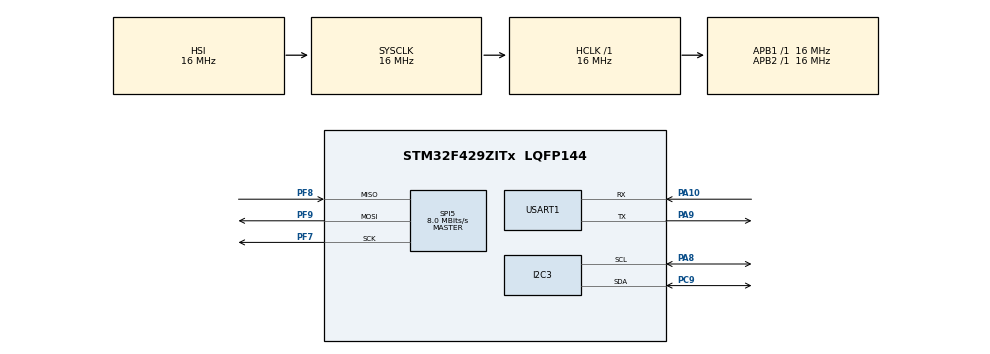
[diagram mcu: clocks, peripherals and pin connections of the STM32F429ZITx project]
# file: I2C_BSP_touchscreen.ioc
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Mcu.Family=STM32F4
Mcu.Name=STM32F429ZITx
Mcu.Package=LQFP144
NVIC.PriorityGroup=NVIC_PRIORITYGROUP_4
PA10.Mode=Asynchronous
PA10.Signal=USART1_RX
PA8.Mode=I2C
PA8.Signal=I2C3_SCL
PA9.Mode=Asynchronous
PA9.Signal=USART1_TX
PC9.Mode=I2C
PC9.Signal=I2C3_SDA
PF7.Mode=Full_Duplex_Master
PF7.Signal=SPI5_SCK
PF8.Mode=Full_Duplex_Master
PF8.Signal=SPI5_MISO
PF9.Mode=Full_Duplex_Master
PF9.Signal=SPI5_MOSI
ProjectManager.HeapSize=0x200
ProjectManager.StackSize=0x400
ProjectManager.TargetToolchain=TrueSTUDIO
RCC.AHBFreq_Value=16000000
RCC.APB1Freq_Value=16000000
RCC.APB2Freq_Value=16000000
RCC.CortexFreq_Value=16000000
RCC.HSE_VALUE=25000000
RCC.HSI_VALUE=16000000
RCC.LSE_VALUE=32768
RCC.SYSCLKFreq_VALUE=16000000
RCC.VCOOutputFreq_Value=192000000
SPI5.CalculateBaudRate=8.0 MBits/s
SPI5.Direction=SPI_DIRECTION_2LINES
SPI5.Mode=SPI_MODE_MASTER
SPI5.VirtualType=VM_MASTER
USART1.VirtualMode=VM_ASYNC
board=custom

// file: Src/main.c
/* USER CODE BEGIN Header */
/**
  ******************************************************************************
  * @file           : main.c
  * @brief          : Main program body
  ******************************************************************************
  * @attention
  *
  * <h2><center>&copy; Copyright (c) 2019 STMicroelectronics.
  * All rights reserved.</center></h2>
  *
  * This software component is licensed by ST under BSD 3-Clause license,
  * the "License"; You may not use this file except in compliance with the
  * License. You may obtain a copy of the License at:
  *                        opensource.org/licenses/BSD-3-Clause
  *
  ******************************************************************************
  */
/* USER CODE END Header */

#include "main.h"

/* USER CODE BEGIN Includes */
#include "stm32f429i_discovery_ts.h"
#include <stdio.h>
/* USER CODE END Includes */

I2C_HandleTypeDef hi2c3;

SPI_HandleTypeDef hspi5;

UART_HandleTypeDef huart1;

/* USER CODE BEGIN PV */
int _write(int file, char *ptr, int len)
{
	HAL_UART_Transmit(&huart1, (uint8_t *)ptr, len, 0xFFFFFFFF);
	return len;
}
/* USER CODE END PV */

void SystemClock_Config(void);
static void MX_GPIO_Init(void);
static void MX_I2C3_Init(void);
static void MX_SPI5_Init(void);
static void MX_USART1_UART_Init(void);

int main(void)
{

  /* MCU Configuration--------------------------------------------------------*/

  /* Reset of all peripherals, Initializes the Flash interface and the Systick. */
  HAL_Init();

  /* Configure the system clock */
  SystemClock_Config();

  /* Initialize all configured peripherals */
  MX_GPIO_Init();
  MX_I2C3_Init();
  MX_SPI5_Init();
  MX_USART1_UART_Init();
  /* USER CODE BEGIN 2 */

  TS_StateTypeDef stTouch;
  BSP_TS_Init(240, 320);
  /* USER CODE END 2 */

  /* Infinite loop */
  /* USER CODE BEGIN WHILE */
  int flag = 0;
  while (1)
  {
    /* USER CODE END WHILE */

    /* USER CODE BEGIN 3 */
	  BSP_TS_GetState(&stTouch);
	  if(stTouch.TouchDetected) {
		if(!flag) {
			flag = 1;
			printf("X : %d\r\n", stTouch.X);
			printf("Y : %d\r\n", stTouch.Y);
		}
	  }
	  else {
		flag = 0;
	  }

  }
  /* USER CODE END 3 */
}

void SystemClock_Config(void)
{
  RCC_OscInitTypeDef RCC_OscInitStruct = {0};
  RCC_ClkInitTypeDef RCC_ClkInitStruct = {0};

  /** Configure the main internal regulator output voltage
  */
  __HAL_RCC_PWR_CLK_ENABLE();
  __HAL_PWR_VOLTAGESCALING_CONFIG(PWR_REGULATOR_VOLTAGE_SCALE3);
  /** Initializes the CPU, AHB and APB busses clocks
  */
  RCC_OscInitStruct.OscillatorType = RCC_OSCILLATORTYPE_HSI;
  RCC_OscInitStruct.HSIState = RCC_HSI_ON;
  RCC_OscInitStruct.HSICalibrationValue = RCC_HSICALIBRATION_DEFAULT;
  RCC_OscInitStruct.PLL.PLLState = RCC_PLL_NONE;
  if (HAL_RCC_OscConfig(&RCC_OscInitStruct) != HAL_OK)
  {
    Error_Handler();
  }
  /** Initializes the CPU, AHB and APB busses clocks
  */
  RCC_ClkInitStruct.ClockType = RCC_CLOCKTYPE_HCLK|RCC_CLOCKTYPE_SYSCLK
                              |RCC_CLOCKTYPE_PCLK1|RCC_CLOCKTYPE_PCLK2;
  RCC_ClkInitStruct.SYSCLKSource = RCC_SYSCLKSOURCE_HSI;
  RCC_ClkInitStruct.AHBCLKDivider = RCC_SYSCLK_DIV1;
  RCC_ClkInitStruct.APB1CLKDivider = RCC_HCLK_DIV1;
  RCC_ClkInitStruct.APB2CLKDivider = RCC_HCLK_DIV1;

  if (HAL_RCC_ClockConfig(&RCC_ClkInitStruct, FLASH_LATENCY_0) != HAL_OK)
  {
    Error_Handler();
  }
}

static void MX_I2C3_Init(void)
{

  hi2c3.Instance = I2C3;
  hi2c3.Init.ClockSpeed = 100000;
  hi2c3.Init.DutyCycle = I2C_DUTYCYCLE_2;
  hi2c3.Init.OwnAddress1 = 0;
  hi2c3.Init.AddressingMode = I2C_ADDRESSINGMODE_7BIT;
  hi2c3.Init.DualAddressMode = I2C_DUALADDRESS_DISABLE;
  hi2c3.Init.OwnAddress2 = 0;
  hi2c3.Init.GeneralCallMode = I2C_GENERALCALL_DISABLE;
  hi2c3.Init.NoStretchMode = I2C_NOSTRETCH_DISABLE;
  if (HAL_I2C_Init(&hi2c3) != HAL_OK)
  {
    Error_Handler();
  }
  /** Configure Analogue filter
  */
  if (HAL_I2CEx_ConfigAnalogFilter(&hi2c3, I2C_ANALOGFILTER_ENABLE) != HAL_OK)
  {
    Error_Handler();
  }
  /** Configure Digital filter
  */
  if (HAL_I2CEx_ConfigDigitalFilter(&hi2c3, 0) != HAL_OK)
  {
    Error_Handler();
  }

}

static void MX_SPI5_Init(void)
{

  /* SPI5 parameter configuration*/
  hspi5.Instance = SPI5;
  hspi5.Init.Mode = SPI_MODE_MASTER;
  hspi5.Init.Direction = SPI_DIRECTION_2LINES;
  hspi5.Init.DataSize = SPI_DATASIZE_8BIT;
  hspi5.Init.CLKPolarity = SPI_POLARITY_LOW;
  hspi5.Init.CLKPhase = SPI_PHASE_1EDGE;
  hspi5.Init.NSS = SPI_NSS_SOFT;
  hspi5.Init.BaudRatePrescaler = SPI_BAUDRATEPRESCALER_2;
  hspi5.Init.FirstBit = SPI_FIRSTBIT_MSB;
  hspi5.Init.TIMode = SPI_TIMODE_DISABLE;
  hspi5.Init.CRCCalculation = SPI_CRCCALCULATION_DISABLE;
  hspi5.Init.CRCPolynomial = 10;
  if (HAL_SPI_Init(&hspi5) != HAL_OK)
  {
    Error_Handler();
  }

}

static void MX_USART1_UART_Init(void)
{

  huart1.Instance = USART1;
  huart1.Init.BaudRate = 115200;
  huart1.Init.WordLength = UART_WORDLENGTH_8B;
  huart1.Init.StopBits = UART_STOPBITS_1;
  huart1.Init.Parity = UART_PARITY_NONE;
  huart1.Init.Mode = UART_MODE_TX_RX;
  huart1.Init.HwFlowCtl = UART_HWCONTROL_NONE;
  huart1.Init.OverSampling = UART_OVERSAMPLING_16;
  if (HAL_UART_Init(&huart1) != HAL_OK)
  {
    Error_Handler();
  }

}

static void MX_GPIO_Init(void)
{

  /* GPIO Ports Clock Enable */
  __HAL_RCC_GPIOF_CLK_ENABLE();
  __HAL_RCC_GPIOC_CLK_ENABLE();
  __HAL_RCC_GPIOA_CLK_ENABLE();

}

void Error_Handler(void)
{
}

/************************ (C) COPYRIGHT STMicroelectronics *****END OF FILE****/
